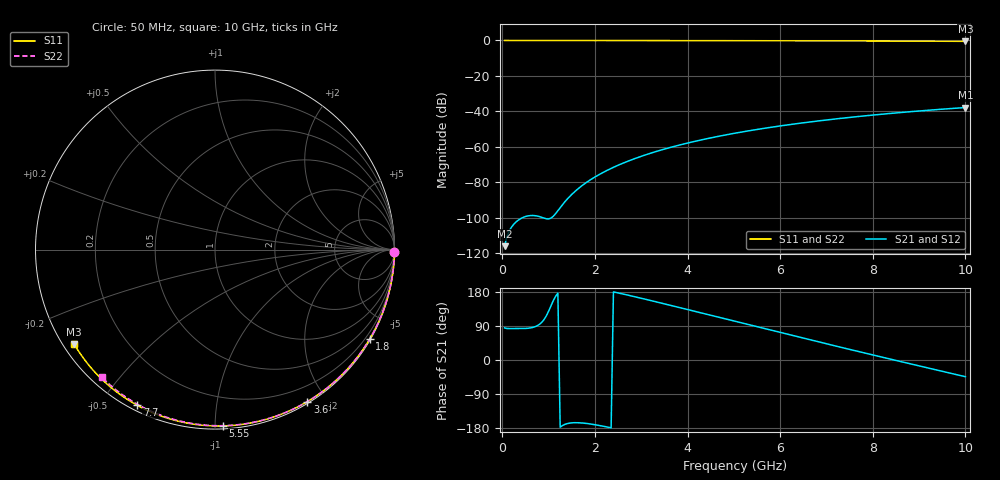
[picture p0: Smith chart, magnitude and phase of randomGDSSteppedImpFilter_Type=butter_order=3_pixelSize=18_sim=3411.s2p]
! freq	dB(S11)	phase(S11)	dB(S12)	phase(S12)
!  dB(S21)	phase(S21)	dB(S22)	phase(S22)
!S-par simulation data
#  GHz  S  DB  R 50
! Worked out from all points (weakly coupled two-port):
!   200 points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, 50 MHz to 10 GHz, reference 50 ohm
!   highest |S21| = -37.86 dB at 10 GHz (marker M1); lowest = -116.1 dB at 50 MHz (marker M2)
!   lowest |S11| = -0.5 dB at 10 GHz (marker M3), VSWR 35.22, Z = 1.55 - j15.2 ohm
!   |S11| at or under -10 dB: nowhere
!   |S22| runs from -0.4 to 0.0 dB; largest |S21 - S12| = 0
!   S11 on the Smith chart (normalised r, x): 50 MHz: open; 1.8 GHz: 0.03, -3.72; 3.6 GHz: 0.02, -1.78; 5.55 GHz: 0.02, -1.05; 7.7 GHz: 0.02, -0.62; 10 GHz: 0.03, -0.30
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0.05  -0.00 -0.9  -116.13 84.7  -116.13 84.7  -0.00 -0.8
0.45  -0.01 -7.6  -99.88 83.0  -99.88 83.0  -0.01 -6.8
0.9  -0.02 -15.2  -100.31 106.4  -100.31 106.4  -0.02 -13.6
1.3  -0.03 -21.9  -92.69 -173.0  -92.69 -173.0  -0.02 -19.6
1.75  -0.04 -29.3  -81.40 -166.5  -81.40 -166.5  -0.03 -26.2
1.8  -0.04 -30.1  -80.46 -167.2  -80.46 -167.2  -0.03 -26.9
1.85  -0.04 -30.9  -79.56 -168.0  -79.56 -168.0  -0.04 -27.7
2.05  -0.04 -34.2  -76.31 -171.8  -76.31 -171.8  -0.04 -30.6
2.2  -0.05 -36.6  -74.18 -175.3  -74.18 -175.3  -0.04 -32.8
2.55  -0.05 -42.2  -69.89 175.7  -69.89 175.7  -0.05 -37.8
2.95  -0.06 -48.6  -65.86 164.4  -65.86 164.4  -0.06 -43.5
3.4  -0.07 -55.6  -62.07 151.2  -62.07 151.2  -0.07 -49.9
3.6  -0.08 -58.7  -60.59 145.2  -60.59 145.2  -0.07 -52.7
4.3  -0.10 -69.3  -56.11 124.0  -56.11 124.0  -0.09 -62.2
5.05  -0.12 -80.3  -52.23 101.3  -52.23 101.3  -0.11 -72.2
5.55  -0.14 -87.4  -50.03 86.1  -50.03 86.1  -0.13 -78.7
6.1  -0.17 -95.0  -47.88 69.6  -47.88 69.6  -0.15 -85.6
6.7  -0.20 -103.2  -45.82 51.6  -45.82 51.6  -0.18 -93.0
7.7  -0.27 -116.5  -42.89 22.1  -42.89 22.1  -0.24 -105.0
8.35  -0.32 -124.9  -41.26 3.2  -41.26 3.2  -0.29 -112.6
9.2  -0.40 -135.9  -39.39 -21.3  -39.39 -21.3  -0.36 -122.4
10  -0.49 -146.1  -37.86 -44.1  -37.86 -44.1  -0.44 -131.4
